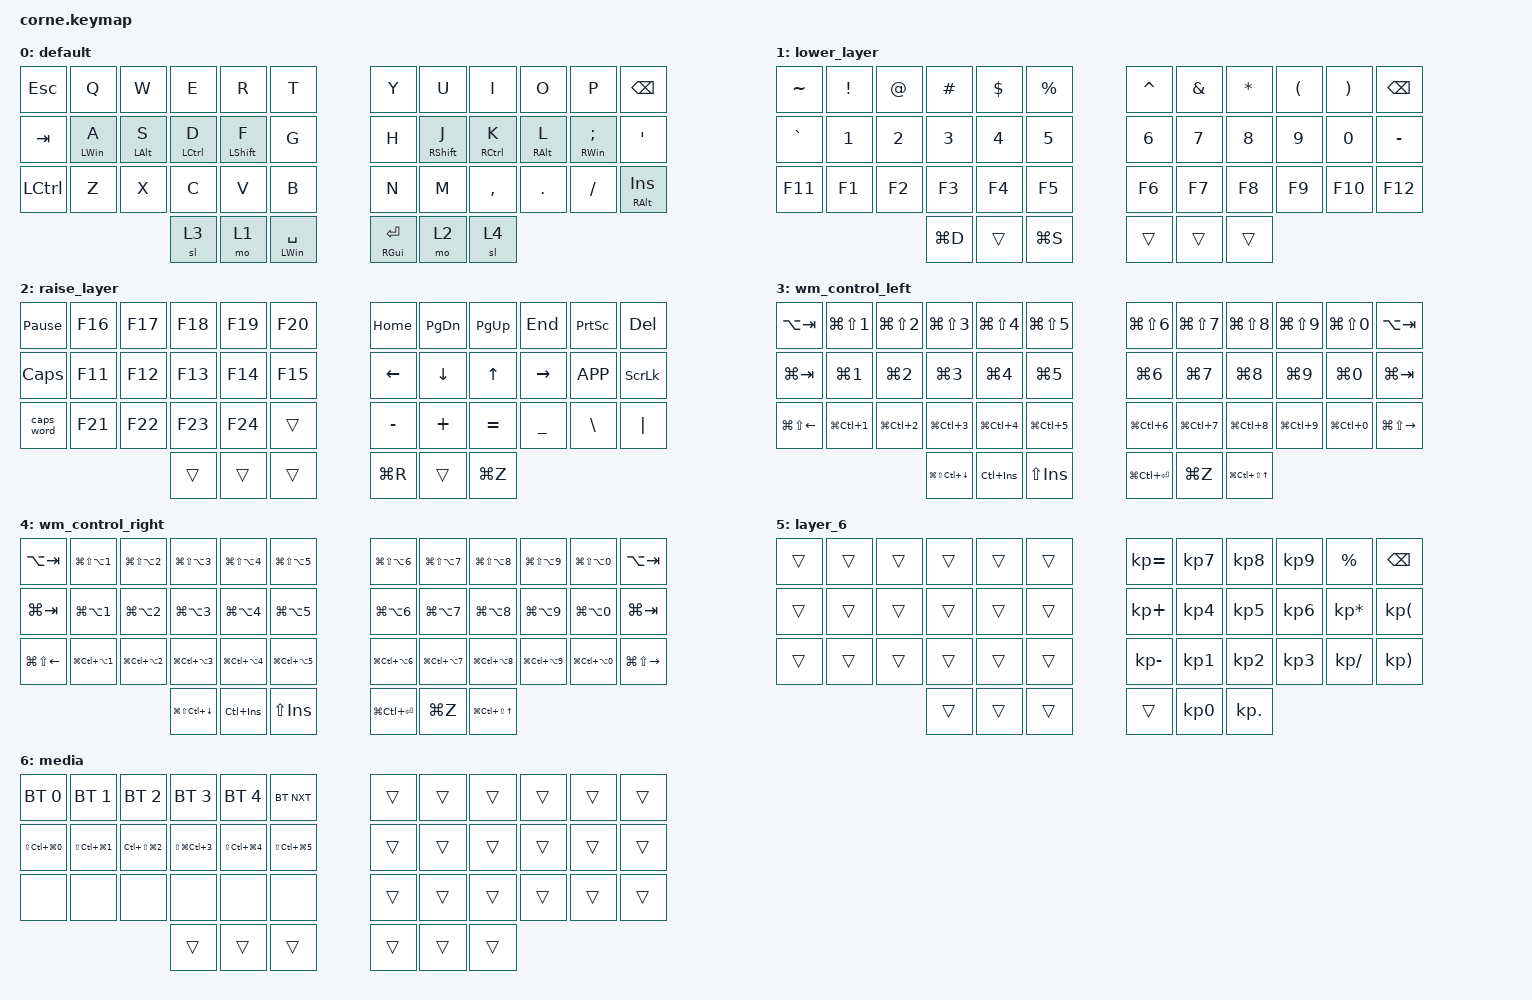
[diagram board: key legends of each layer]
/*
 * Copyright (c) 2020 The ZMK Contributors
 *
 * SPDX-License-Identifier: MIT
 */

#include <behaviors.dtsi>
#include <dt-bindings/zmk/bt.h>
#include <dt-bindings/zmk/keys.h>

/ {
    combos {
        compatible = "zmk,combos";

        en {
            bindings = <&kp LG(F1)>;
            key-positions = <37 17>;
        };

        ru {
            bindings = <&kp LG(F2)>;
            key-positions = <40 18>;
        };

        ua {
            bindings = <&kp LG(F3)>;
            key-positions = <40 6>;
        };

        switch_layout {
            bindings = <&kp LG(SPACE)>;
            key-positions = <40 19>;
        };

        play {
            bindings = <&kp C_PLAY_PAUSE>;
            key-positions = <5 29>;
        };

        vol_up {
            bindings = <&kp C_VOL_UP>;
            key-positions = <6 18>;
        };

        vol_dn {
            bindings = <&kp C_VOL_DN>;
            key-positions = <30 18>;
        };

        mute {
            bindings = <&kp C_MUTE>;
            key-positions = <30 6>;
        };

        Left_braket {
            bindings = <&kp LEFT_BRACKET>;
            key-positions = <18 7>;
        };

        Right_bracket {
            bindings = <&kp RIGHT_BRACKET>;
            key-positions = <19 8>;
        };

        play_next {
            bindings = <&kp C_NEXT>;
            key-positions = <5 17>;
        };

        play_previous {
            bindings = <&kp C_PREVIOUS>;
            key-positions = <17 29>;
        };

        soft_off_right {
            bindings = <&soft_off>;
            key-positions = <11 39 6>;
        };

        soft_off_left {
            bindings = <&soft_off>;
            key-positions = <0 38 5>;
        };

        par_left {
            bindings = <&kp LEFT_PARENTHESIS>;
            key-positions = <30 19>;
        };

        par_right {
            bindings = <&kp RIGHT_PARENTHESIS>;
            key-positions = <31 20>;
        };

        caps_word {
            bindings = <&caps_word>;
            key-positions = <16 19>;
        };

        left_brace {
            bindings = <&kp LEFT_BRACE>;
            key-positions = <3 16>;
        };

        lt {
            bindings = <&kp LESS_THAN>;
            key-positions = <15 28>;
        };

        right_close {
            bindings = <&kp LG(Q)>;
            key-positions = <39 11>;
        };

        left_close {
            bindings = <&kp LG(Q)>;
            key-positions = <38 0>;
        };

        colon {
            bindings = <&kp COLON>;
            key-positions = <18 19>;
        };

        win {
            bindings = <&kp LEFT_WIN>;
            key-positions = <38 39>;
        };

        pl {
            bindings = <&kp LG(F4)>;
            key-positions = <5 37>;
        };

        de {
            bindings = <&kp LG(F5)>;
            key-positions = <29 37>;
        };

        right_brace {
            bindings = <&kp RIGHT_BRACE>;
            key-positions = <17 4>;
        };

        gt {
            bindings = <&kp GREATER_THAN>;
            key-positions = <16 29>;
        };

        switch_layout2 {
            bindings = <&kp LG(SPACE)>;
            key-positions = <37 16>;
        };

        copy {
            bindings = <&kp LC(INSERT)>;
            key-positions = <30 40>;
        };

        paste {
            bindings = <&kp RS(INSERT)>;
            key-positions = <40 31>;
        };

        tog-layer-3 {
            bindings = <&mo 5>;
            key-positions = <24 25>;
        };

        mo-layer-5 {
            bindings = <&mo 6>;
            key-positions = <34 35>;
        };

        switch_window {
            bindings = <&kp LA(TAB)>;
            key-positions = <38 29>;
        };

        switch_screen {
            bindings = <&kp LG(TAB)>;
            key-positions = <38 17>;
        };

        alt-tab-right {
            bindings = <&kp LA(TAB)>;
            key-positions = <39 30>;
        };

        win-tab-right {
            bindings = <&kp LG(TAB)>;
            key-positions = <39 18>;
        };

        next_workspace_right {
            bindings = <&kp LA(LG(RIGHT))>;
            key-positions = <39 20>;
        };

        prev_workspace_right {
            bindings = <&kp LA(LG(LEFT))>;
            key-positions = <39 19>;
        };

        prev_workspace_left {
            bindings = <&kp LG(LA(LEFT))>;
            key-positions = <38 15>;
        };

        next_workspace_left {
            bindings = <&kp LG(LA(RIGHT))>;
            key-positions = <38 16>;
        };

        move_next_mon {
            bindings = <&kp LG(LS(LC(LEFT)))>;
            key-positions = <5 38>;
        };

        move_prev_mon {
            bindings = <&kp LG(LS(LC(RIGHT)))>;
            key-positions = <6 39>;
        };

        console_copy {
            bindings = <&kp LC(LS(C))>;
            key-positions = <36 37>;
        };

        console_paste {
            bindings = <&kp LC(LS(V))>;
            key-positions = <38 36>;
        };
    };

    behaviors {
        hr_mod: hr_mod {
            compatible = "zmk,behavior-hold-tap";
            label = "HR_MOD";
            bindings = <&kp>, <&kp>;

            #binding-cells = <2>;
            tapping-term-ms = <200>;
            flavor = "balanced";
            quick-tap-ms = <200>;
            require-prior-idle-ms = <200>;
        };

        ml_mod: ml_mod {
            compatible = "zmk,behavior-hold-tap";
            label = "ML_MOD";
            bindings = <&mo>, <&kp>;

            #binding-cells = <2>;
            tapping-term-ms = <200>;
            quick-tap-ms = <200>;
            require-prior-idle-ms = <200>;
            flavor = "balanced";
        };

        sl_mod: sl_mod {
            compatible = "zmk,behavior-hold-tap";
            label = "SL_MOD";
            bindings = <&kp>, <&sl>;

            #binding-cells = <2>;
            tapping-term-ms = <250>;
            quick-tap-ms = <250>;
            require-prior-idle-ms = <250>;
            flavor = "balanced";
        };
    };

    keymap {
        compatible = "zmk,keymap";

        default {
            // -----------------------------------------------------------------------------------------
            // |  TAB |  Q  |  W  |  E  |  R  |  T  |   |  Y  |  U   |  I  |  O  |  P  | BKSP |
            // | CTRL |  A  |  S  |  D  |  F  |  G  |   |  H  |  J   |  K  |  L  |  ;  |  '   |
            // | SHFT |  Z  |  X  |  C  |  V  |  B  |   |  N  |  M   |  ,  |  .  |  /  | ESC  |
            //                    | GUI | LWR | SPC |   | ENT | RSE  | ALT |

            bindings = <
&kp ESCAPE        &kp Q               &kp W               &kp E            &kp R                 &kp T                     &kp Y                     &kp U                  &kp I            &kp O                &kp P                        &kp BACKSPACE
&kp TAB           &hr_mod LEFT_WIN A  &hr_mod LEFT_ALT S  &hr_mod LCTRL D  &hr_mod LEFT_SHIFT F  &kp G                     &kp H                     &hr_mod RIGHT_SHIFT J  &hr_mod RCTRL K  &hr_mod RIGHT_ALT L  &hr_mod RIGHT_WIN SEMICOLON  &kp SINGLE_QUOTE
&kp LEFT_CONTROL  &kp Z               &kp X               &kp C            &kp V                 &kp B                     &kp N                     &kp M                  &kp COMMA        &kp DOT              &kp FSLH                     &hr_mod RIGHT_ALT INSERT
                                                          &sl 3            &mo 1                 &hr_mod LEFT_WIN SPACE    &hr_mod RIGHT_GUI RETURN  &mo 2                  &sl 4
            >;
        };

        lower_layer {
            // -----------------------------------------------------------------------------------------
            // |  TAB |  1  |  2  |  3  |  4  |  5  |   |  6  |  7  |  8  |  9  |  0  | BKSP |
            // | BTCLR| BT1 | BT2 | BT3 | BT4 | BT5 |   | LFT | DWN |  UP | RGT |     |      |
            // | SHFT |     |     |     |     |     |   |     |     |     |     |     |      |
            //                    | GUI |     | SPC |   | ENT |     | ALT |

            bindings = <
&kp TILDE  &kp EXCLAMATION  &kp AT_SIGN   &kp HASH      &kp DOLLAR    &kp PERCENT     &kp CARET     &kp AMPERSAND  &kp ASTERISK  &kp LEFT_PARENTHESIS  &kp RIGHT_PARENTHESIS  &kp BACKSPACE
&kp GRAVE  &kp NUMBER_1     &kp NUMBER_2  &kp NUMBER_3  &kp NUMBER_4  &kp NUMBER_5    &kp NUMBER_6  &kp NUMBER_7   &kp NUMBER_8  &kp NUMBER_9          &kp NUMBER_0           &kp MINUS
&kp F11    &kp F1           &kp F2        &kp F3        &kp F4        &kp F5          &kp F6        &kp F7         &kp F8        &kp F9                &kp F10                &kp F12
                                          &kp LG(D)     &trans        &kp LG(S)       &trans        &trans         &trans
            >;
        };

        raise_layer {
            // -----------------------------------------------------------------------------------------
            // |  TAB |  !  |  @  |  #  |  $  |  %  |   |  ^  |  &  |  *  |  (  |  )  | BKSP |
            // | CTRL |     |     |     |     |     |   |  -  |  =  |  [  |  ]  |  \  |  `   |
            // | SHFT |     |     |     |     |     |   |  _  |  +  |  {  |  }  | "|" |  ~   |
            //                    | GUI |     | SPC |   | ENT |     | ALT |

            bindings = <
&kp PAUSE_BREAK  &kp F16  &kp F17  &kp F18  &kp F19  &kp F20    &kp HOME        &kp PAGE_DOWN   &kp PAGE_UP   &kp END         &kp PRINTSCREEN  &kp DELETE
&kp CAPSLOCK     &kp F11  &kp F12  &kp F13  &kp F14  &kp F15    &kp LEFT_ARROW  &kp DOWN_ARROW  &kp UP_ARROW  &kp RIGHT       &kp K_APP        &kp SCROLLLOCK
&caps_word       &kp F21  &kp F22  &kp F23  &kp F24  &trans     &kp MINUS       &kp PLUS        &kp EQUAL     &kp UNDERSCORE  &kp BACKSLASH    &kp PIPE
                                   &trans   &trans   &trans     &kp LG(R)       &trans          &kp LG(Z)
            >;
        };

        wm_control_left {
            bindings = <
&kp LA(TAB)       &kp LG(LS(NUMBER_1))  &kp LG(LS(NUMBER_2))  &kp LG(LS(NUMBER_3))  &kp LG(LS(NUMBER_4))  &kp LG(LS(N5))    &kp LG(LS(NUMBER_6))  &kp LG(LS(N7))  &kp LG(LS(N8))      &kp LG(LS(N9))  &kp LG(LS(N0))  &kp LA(TAB)
&kp LG(TAB)       &kp LG(NUMBER_1)      &kp LG(NUMBER_2)      &kp LG(NUMBER_3)      &kp LG(NUMBER_4)      &kp LG(N5)        &kp LG(NUMBER_6)      &kp LG(N7)      &kp LG(N8)          &kp LG(N9)      &kp LG(N0)      &kp LG(TAB)
&kp LG(LS(LEFT))  &kp LG(LC(NUMBER_1))  &kp LG(LC(NUMBER_2))  &kp LG(LC(NUMBER_3))  &kp LG(LC(NUMBER_4))  &kp LG(LC(N5))    &kp LG(LC(NUMBER_6))  &kp LG(LC(N7))  &kp LG(LC(N8))      &kp LG(LC(N9))  &kp LG(LC(N0))  &kp LG(LS(RIGHT))
                                                              &kp LG(LS(LC(DOWN)))  &kp LC(INSERT)        &kp LS(INSERT)    &kp LG(LC(ENTER))     &kp LG(Z)       &kp LG(LC(LS(UP)))
            >;
        };

        wm_control_right {
            bindings = <
&kp LA(TAB)       &kp LG(LS(LA(NUMBER_1)))  &kp LG(LS(LA(NUMBER_2)))  &kp LG(LS(LA(NUMBER_3)))  &kp LG(LS(LA(NUMBER_4)))  &kp LG(LS(LA(N5)))    &kp LG(LS(LA(NUMBER_6)))  &kp LG(LS(LA(N7)))  &kp LG(LS(LA(N8)))  &kp LG(LS(LA(N9)))  &kp LG(LS(LA(N0)))  &kp LA(TAB)
&kp LG(TAB)       &kp LG(LA(NUMBER_1))      &kp LG(LA(NUMBER_2))      &kp LG(LA(NUMBER_3))      &kp LG(LA(NUMBER_4))      &kp LG(LA(N5))        &kp LG(LA(NUMBER_6))      &kp LG(LA(N7))      &kp LG(LA(N8))      &kp LG(LA(N9))      &kp LG(LA(N0))      &kp LG(TAB)
&kp LG(LS(LEFT))  &kp LG(LC(LA(NUMBER_1)))  &kp LG(LC(LA(NUMBER_2)))  &kp LG(LC(LA(NUMBER_3)))  &kp LG(LC(LA(NUMBER_4)))  &kp LG(LC(LA(N5)))    &kp LG(LC(LA(NUMBER_6)))  &kp LG(LC(LA(N7)))  &kp LG(LC(LA(N8)))  &kp LG(LC(LA(N9)))  &kp LG(LC(LA(N0)))  &kp LG(LS(RIGHT))
                                                                      &kp LG(LS(LC(DOWN)))      &kp LC(INSERT)            &kp LS(INSERT)        &kp LG(LC(ENTER))         &kp LG(Z)           &kp LG(LC(LS(UP)))
            >;
        };

        layer_6 {
            bindings = <
&trans  &trans  &trans  &trans  &trans  &trans    &kp KP_EQUAL  &kp KP_N7  &kp KP_N8   &kp KP_N9  &kp PERCENT      &kp BACKSPACE
&trans  &trans  &trans  &trans  &trans  &trans    &kp KP_PLUS   &kp KP_N4  &kp KP_N5   &kp KP_N6  &kp KP_MULTIPLY  &kp KP_LEFT_PARENTHESIS
&trans  &trans  &trans  &trans  &trans  &trans    &kp KP_MINUS  &kp KP_N1  &kp KP_N2   &kp KP_N3  &kp KP_SLASH     &kp KP_RIGHT_PARENTHESIS
                        &trans  &trans  &trans    &trans        &kp KP_N0  &kp KP_DOT
            >;
        };

        media {
            bindings = <
&bt BT_SEL 0        &bt BT_SEL 1              &bt BT_SEL 2              &bt BT_SEL 3              &bt BT_SEL 4              &bt BT_NXT            &trans  &trans  &trans  &trans  &trans  &trans
&kp LS(LC(LG(N0)))  &kp LS(LC(LG(NUMBER_1)))  &kp LC(LS(LG(NUMBER_2)))  &kp LS(LG(LC(NUMBER_3)))  &kp LS(LC(LG(NUMBER_4)))  &kp LS(LC(LG(N5)))    &trans  &trans  &trans  &trans  &trans  &trans
&none               &none                     &none                     &none                     &none                     &none                 &trans  &trans  &trans  &trans  &trans  &trans
                                                                        &trans                    &trans                    &trans                &trans  &trans  &trans
            >;
        };
    };

    conditional_layers { compatible = "zmk,conditional-layers"; };
};
